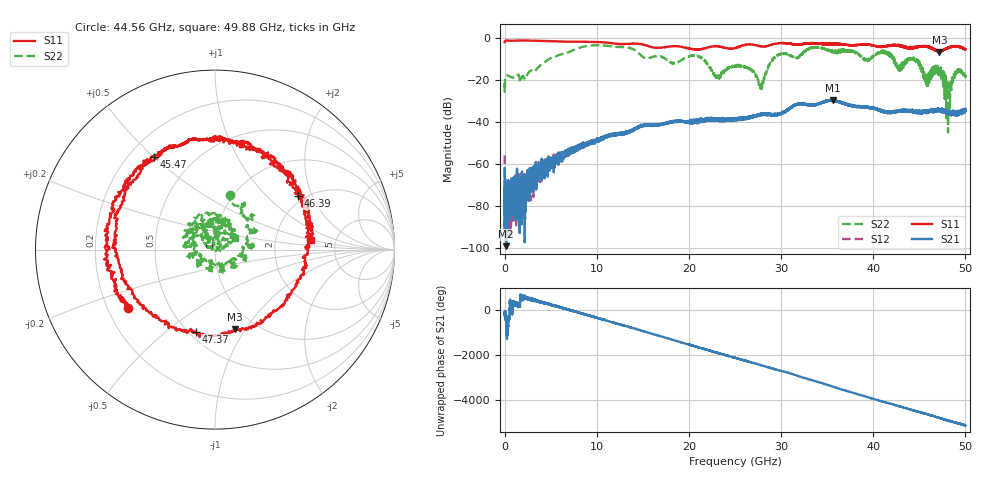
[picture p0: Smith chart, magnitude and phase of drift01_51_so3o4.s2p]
!Created with skrf (http://scikit-rf.org).
# Hz S RI R 50.0
!freq ReS11 ImS11 ReS21 ImS21 ReS12 ImS12 ReS22 ImS22
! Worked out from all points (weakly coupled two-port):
!   10001 points, 300 kHz to 50 GHz, reference 50 ohm
!   highest |S21| = -29.60 dB at 35.62 GHz (marker M1); lowest = -99.2 dB at 175.3 MHz (marker M2)
!   lowest |S11| = -6.8 dB at 47.18 GHz (marker M3), VSWR 2.68, Z = 40.1 - j44.9 ohm
!   |S11| at or under -10 dB: nowhere
!   |S22| runs from -45.1 to -3.6 dB; largest |S21 - S12| = 0.0041
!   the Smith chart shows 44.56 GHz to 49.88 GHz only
!   S11 on the Smith chart (normalised r, x): 44.56 GHz: 0.29, -0.28; 45.47 GHz: 0.30, +0.50; 46.39 GHz: 1.84, +1.57; 47.37 GHz: 0.54, -0.64; 49.88 GHz: 3.24, +0.50
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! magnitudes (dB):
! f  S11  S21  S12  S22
! 300 kHz  -2.1  -62.0  -56.0  -21.8
! 175.3 MHz  -1.4  -99.2  -69.3  -18.0
! 8.335 GHz  -2.0  -52.0  -51.7  -4.6
! 16.67 GHz  -4.9  -41.2  -41.6  -8.7
! 20.96 GHz  -5.6  -40.1  -39.1  -8.7
! 23.07 GHz  -4.1  -39.0  -38.5  -18.3
! 25 GHz  -5.0  -38.6  -38.7  -13.7
! 27.83 GHz  -4.1  -36.6  -36.6  -22.4
! 29.47 GHz  -2.9  -36.3  -36.6  -8.8
! 33.34 GHz  -2.6  -32.1  -32.2  -4.7
! 35.62 GHz  -2.8  -29.6  -29.9  -7.0
! 41.67 GHz  -3.9  -35.5  -35.6  -7.4
! 42.82 GHz  -3.8  -34.9  -34.8  -12.9
! 44.56 GHz  -4.7  -35.5  -35.6  -10.1
! 45.47 GHz  -4.1  -35.5  -35.4  -17.9
! 46.39 GHz  -5.2  -34.5  -34.4  -17.3
! 47.18 GHz  -6.8  -33.9  -35.3  -14.7
! 47.37 GHz  -6.6  -34.3  -34.7  -16.2
! 48.14 GHz  -4.9  -34.9  -35.4  -34.4
! 48.96 GHz  -4.2  -36.2  -35.7  -17.7
! 49.88 GHz  -5.4  -35.1  -35.9  -17.9
! 50 GHz  -5.5  -34.6  -35.2  -18.6
